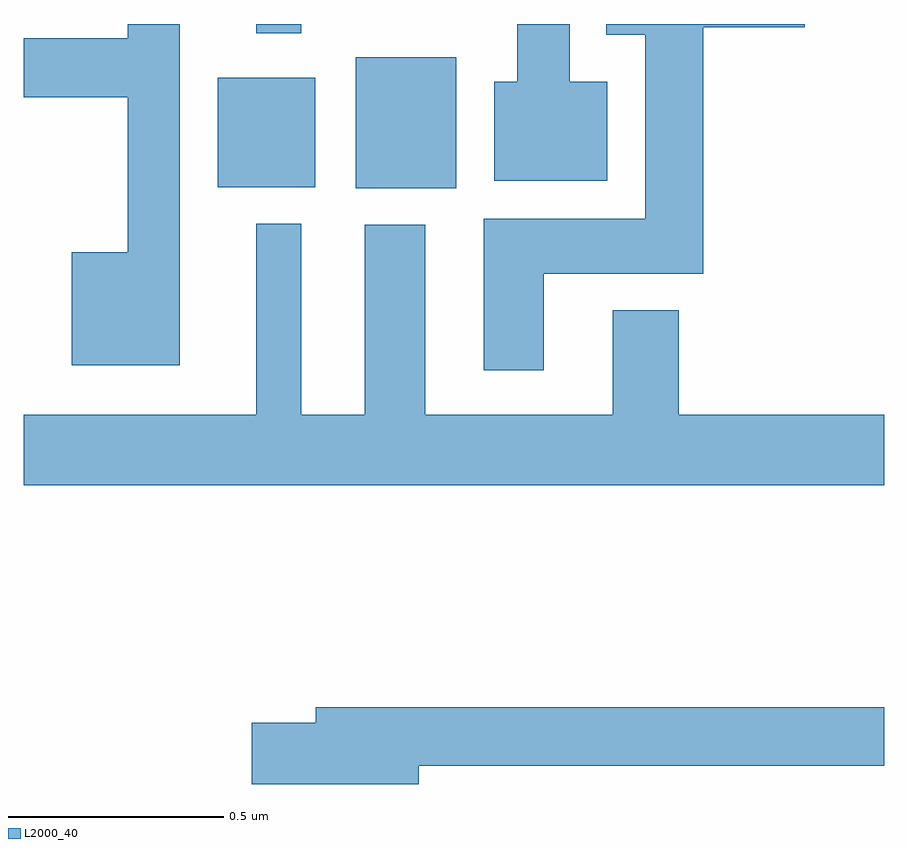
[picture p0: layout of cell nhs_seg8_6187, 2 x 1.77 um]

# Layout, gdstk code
import gdstk
lib = gdstk.Library(unit=1e-6, precision=1e-09)
def R(c, l, rs):  # rectangles x0, y0, x1, y1
    for r in rs: c.add(gdstk.rectangle(r[:2], r[2:], *l))
def P(c, l, *ps):  # polygons
    for p in ps: c.add(gdstk.Polygon(p, *l))
L2000_40 = (2000, 40)

nhs_seg8_6187 = lib.new_cell('nhs_seg8_6187')
R(nhs_seg8_6187, L2000_40, [(193.772,1122.518,194.005,1122.823), (193.451,1122.521,193.678,1122.775), (193.541,1122.879,193.645,1122.9)])
P(nhs_seg8_6187, L2000_40, [(193.363,1122.9),(193.242,1122.9),(193.242,1122.867),(193,1122.867),(193,1122.73),(193.242,1122.73),(193.242,1122.37),(193.112,1122.37),(193.112,1122.107),(193.363,1122.107)],
  [(194.209,1122.32),(194.579,1122.32),(194.579,1122.893),(194.815,1122.893),(194.815,1122.9),(194.354,1122.9),(194.354,1122.875),(194.444,1122.875),(194.444,1122.448),(194.069,1122.448),(194.069,1122.096),(194.209,1122.096)],
  [(194.356,1122.766),(194.269,1122.766),(194.269,1122.9),(194.147,1122.9),(194.147,1122.766),(194.093,1122.766),(194.093,1122.536),(194.356,1122.536)],
  [(195,1121.992),(194.522,1121.992),(194.522,1122.235),(194.369,1122.235),(194.369,1121.992),(193.933,1121.992),(193.933,1122.433),(193.793,1122.433),(193.793,1121.992),(193.645,1121.992),(193.645,1122.436),(193.541,1122.436),(193.541,1121.992),(193,1121.992),(193,1121.828),(195,1121.828)],
  [(193.918,1121.176),(195,1121.176),(195,1121.312),(193.679,1121.312),(193.679,1121.276),(193.53,1121.276),(193.53,1121.134),(193.918,1121.134)])

lib.write_gds('nhs_seg8_6187.gds')
